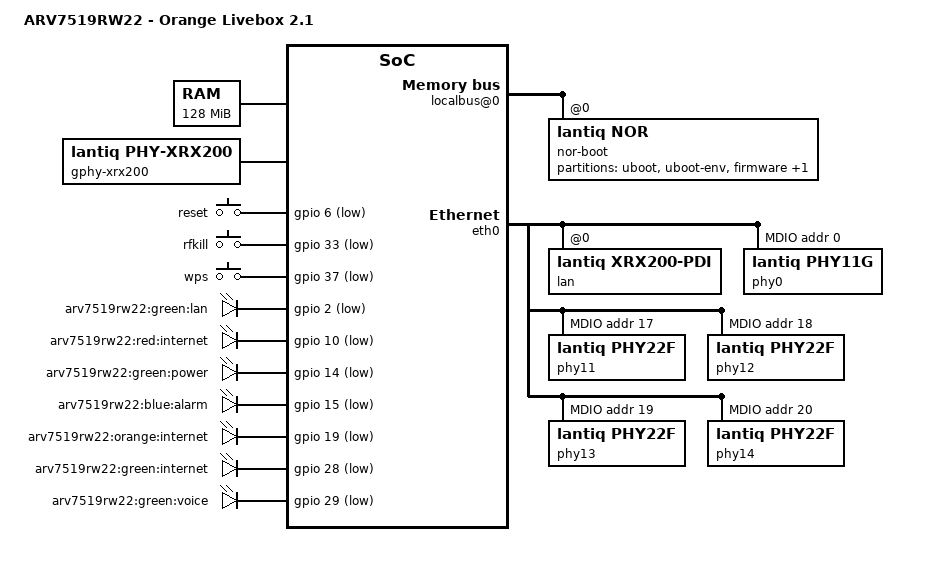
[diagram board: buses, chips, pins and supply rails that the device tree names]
/dts-v1/;

/include/ "vr9.dtsi"

/ {
	model = "ARV7519RW22 - Orange Livebox 2.1";

	chosen {
		bootargs = "console=ttyLTQ0,115200 init=/etc/preinit";

		leds {
			boot = &power_green;
			failsafe = &power_green;
			running = &power_green;

			internet = &internet_green;
		};
	};

	memory@0 {
		reg = <0x0 0x8000000>;
	};

	fpi@10000000 {
		localbus@0 {
			nor-boot@0 {
				compatible = "lantiq,nor";
				bank-width = <2>;
				reg = <0 0x0 0x2000000>;
				#address-cells = <1>;
				#size-cells = <1>;

				partition@0 {
					label = "uboot";
					reg = <0x0 0x60000>;
					read-only;
				};

				partition@60000 {
					label = "uboot-env";
					reg = <0x60000 0x20000>;
					read-only;
				};

				partition@80000 {
					label = "firmware";
					reg = <0x80000 0x1f00000>;
				};

				boardconfig: partition@1f80000 {
					label = "boardconfig";
					reg = <0x1f80000 0x80000>;
					read-only;
				};
			};
		};

		gpio: pinmux@E100B10 {
			pinctrl-names = "default";
			pinctrl-0 = <&state_default>;

			state_default: pinmux {
				mdio {
					lantiq,groups = "mdio";
					lantiq,function = "mdio";
				};
				pcie-rst {
					lantiq,pins = "io21";
					lantiq,pull = <0>;
					lantiq,output = <1>;
				};
			};
		};

		ifxhcd@E101000 {
			status = "okay";
			gpios = <&gpio 32 0>;
		};

		ifxhcd@E106000 {
			status = "okay";
			gpios = <&gpio 32 0>;
		};

		pcie@d900000 {
			status = "disabled";
		};

		pci@E105400 {
			status = "disabled";
			compatible = "lantiq,pci-xway";
		};
	};

	gphy-xrx200 {
		compatible = "lantiq,phy-xrx200";
		firmware1 = "lantiq/vr9_phy22f_a1x.bin";	/*VR9 1.1*/
		firmware2 = "lantiq/vr9_phy22f_a2x.bin";	/*VR9 1.2*/
		phys = [ 00 01 ];
	};

	gpio-keys-polled {
		compatible = "gpio-keys-polled";
		#address-cells = <1>;
		#size-cells = <0>;
		poll-interval = <100>;

		reset {
			label = "reset";
			gpios = <&gpio 6 1>;
			linux,code = <0x198>;
		};
		rfkill {
			label = "rfkill";
			gpios = <&gpio 33 1>;
			linux,code = <0xf7>;
		};
		wps {
			label = "wps";
			gpios = <&gpio 37 1>;
			linux,code = <0x211>;
		};
	};

	gpio-leds {
		compatible = "gpio-leds";

		lan_green {
			label = "arv7519rw22:green:lan";
			gpios = <&gpio 2 1>;
		};
		internet_red {
			label = "arv7519rw22:red:internet";
			gpios = <&gpio 10 1>;
		};
		power_green: power_green {
			label = "arv7519rw22:green:power";
			gpios = <&gpio 14 1>;
			default-state = "keep";
		};
		alarm_blue {
			label = "arv7519rw22:blue:alarm";
			gpios = <&gpio 15 1>;
		};
		internet_orange {
			label = "arv7519rw22:orange:internet";
			gpios = <&gpio 19 1>;
		};
		internet_green: internet_green {
			label = "arv7519rw22:green:internet";
			gpios = <&gpio 28 1>;
		};
		voice_green {
			label = "arv7519rw22:green:voice";
			gpios = <&gpio 29 1>;
		};
	};
};

&eth0 {
	lan: interface@0 {
		compatible = "lantiq,xrx200-pdi";
		#address-cells = <1>;
		#size-cells = <0>;
		reg = <0>;
		mtd-mac-address = <&boardconfig 0x16>;
		lantiq,switch;

		ethernet@0 {
			compatible = "lantiq,xrx200-pdi-port";
			reg = <0>;
			phy-mode = "rgmii";
			phy-handle = <&phy0>;
		};
		ethernet@1 {
			compatible = "lantiq,xrx200-pdi-port";
			reg = <4>;
			phy-mode = "mii";
			phy-handle = <&phy13>;
		};
		ethernet@2 {
			compatible = "lantiq,xrx200-pdi-port";
			reg = <5>;
			phy-mode = "mii";
			phy-handle = <&phy14>;
		};
		ethernet@3 {
			compatible = "lantiq,xrx200-pdi-port";
			reg = <2>;
			phy-mode = "mii";
			phy-handle = <&phy11>;
		};
		ethernet@4 {
			compatible = "lantiq,xrx200-pdi-port";
			reg = <3>;
			phy-mode = "mii";
			phy-handle = <&phy12>;
		};
	};

	mdio@0 {
		#address-cells = <1>;
		#size-cells = <0>;
		compatible = "lantiq,xrx200-mdio";
		phy0: ethernet-phy@0 {
			reg = <0x0>;
			compatible = "lantiq,phy11g", "ethernet-phy-ieee802.3-c22";
		};
		phy11: ethernet-phy@11 {
			reg = <0x11>;
			compatible = "lantiq,phy22f", "ethernet-phy-ieee802.3-c22";
		};
		phy12: ethernet-phy@12 {
			reg = <0x12>;
			compatible = "lantiq,phy22f", "ethernet-phy-ieee802.3-c22";
		};
		phy13: ethernet-phy@13 {
			reg = <0x13>;
			compatible = "lantiq,phy22f", "ethernet-phy-ieee802.3-c22";
		};
		phy14: ethernet-phy@14 {
			reg = <0x14>;
			compatible = "lantiq,phy22f", "ethernet-phy-ieee802.3-c22";
		};
	};
};
